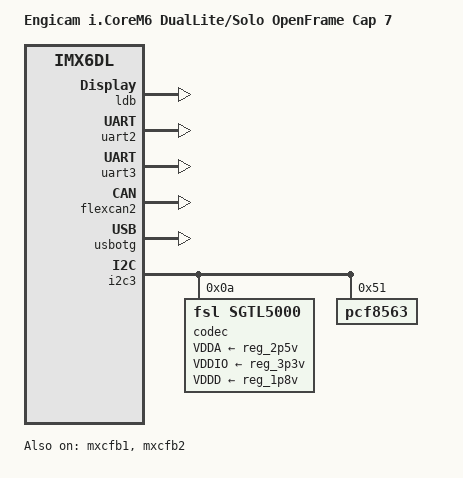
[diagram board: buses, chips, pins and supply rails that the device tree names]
/*
 * Copyright (C) 2013 Freescale Semiconductor, Inc.
 *
 * This program is free software; you can redistribute it and/or modify
 * it under the terms of the GNU General Public License version 2 as
 * published by the Free Software Foundation.
 */

/dts-v1/;

#include "imx6dl.dtsi"
#include "icorem6qdl.dtsi"

/ {
	model = "Engicam i.CoreM6 DualLite/Solo OpenFrame Cap 7";
	compatible = "fsl,imx6-icore", "fsl,imx6dl";

	sound {
		compatible = "fsl,imx6-icore-sgtl5000",
			     "fsl,imx-audio-sgtl5000";
		model = "imx6q-icore-sgtl5000";
		cpu-dai = <&ssi1>;
		audio-codec = <&codec>;
		audio-routing =
			"MIC_IN", "Mic Jack",
			"Mic Jack", "Mic Bias",
			"Headphone Jack", "HP_OUT";
		mux-int-port = <1>;
		mux-ext-port = <4>;
	};
};

&ldb {
	status = "okay";

	lvds-channel@0 {
		fsl,data-mapping = "spwg";
		fsl,data-width = <18>;
		status = "okay";
		crtc = "ipu1-di0";
		primary;

		display-timings {
                        native-mode = <&timing1>;
                        timing1: hsd100pxn1 {
                                clock-frequency = <40000000>;
                                hactive = <800>;
                                vactive = <480>;
                                hback-porch = <30>;
                                hfront-porch = <30>;
                                vback-porch = <5>;
                                vfront-porch = <5>;
                                hsync-len = <64>;
                                vsync-len = <20>;
                        };
                };
	};
};


&mxcfb1 {
	status = "okay";
};

&mxcfb2 {
	status = "okay";
};

&uart2 {
	status = "okay";
};

&uart3 {
	fsl,uart-has-rtscts;
	status = "okay";
};

&flexcan2 {
	status = "okay";
};

&usbotg {
	status = "okay";
};


&i2c3 {

	codec: sgtl5000@0a {
		compatible = "fsl,sgtl5000";
		reg = <0x0a>;
		clocks = <&clks 201>;
		VDDA-supply = <&reg_2p5v>;
		VDDIO-supply = <&reg_3p3v>;
		VDDD-supply = <&reg_1p8v>;
	};
	
	pcf8563: rtc@51 {
		compatible = "pcf8563";
		reg = <0x51>;
	};
};
